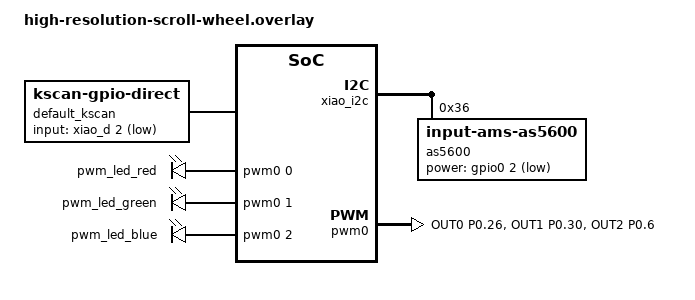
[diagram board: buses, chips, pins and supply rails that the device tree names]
#include <input/processors.dtsi>

&xiao_i2c {
    compatible = "nordic,nrf-twi";
    pinctrl-0 = <&i2c0_default>;
    pinctrl-1 = <&i2c0_sleep>;
    pinctrl-names = "default", "sleep";
    status = "okay";

    as5600: as5600@36 {
        compatible = "zmk,input-ams-as5600";
        reg = <0x36>;
        power-gpios = <&gpio0 2 GPIO_ACTIVE_LOW>;
        status = "okay";
    };
};

/ {
    chosen {
        zmk,kscan = &default_kscan;
    };

    default_kscan: kscan {
        compatible = "zmk,kscan-gpio-direct";
        label = "default_kscan";

        input-gpios =
            <&xiao_d 2 (GPIO_ACTIVE_LOW | GPIO_PULL_UP)>;
    };

    as5600_listener: as5600_listener {
        compatible = "zmk,input-listener";
        device = <&as5600>;
        input-processors = <&zip_scroll_scaler (1) 2>;

        div4 {
            layers = <1>;
            input-processors = <&zip_scroll_scaler (1) 4>;
        };

        div8 {
            layers = <2>;
            input-processors = <&zip_scroll_scaler (1) 8>;
        };

        div16 {
            layers = <3>;
            input-processors = <&zip_scroll_scaler (1) 16>;
        };
    };
};
#include <dt-bindings/pinctrl/nrf-pinctrl.h>

&pinctrl {
    pwm0_default_leds: pwm0_default_leds {
        group1 {
            psels = <NRF_PSEL(PWM_OUT0, 0, 26)>, // Red
                    <NRF_PSEL(PWM_OUT1, 0, 30)>, // Green
                    <NRF_PSEL(PWM_OUT2, 0, 6)>;  // Blue
        };
    };
    pwm0_sleep_leds: pwm0_sleep_leds {
        group1 {
            psels = <NRF_PSEL(PWM_OUT0, 0, 26)>,
                    <NRF_PSEL(PWM_OUT1, 0, 30)>,
                    <NRF_PSEL(PWM_OUT2, 0, 6)>;
            low-power-enable;
        };
    };
};

&pwm0 {
    status = "okay";
    pinctrl-0 = <&pwm0_default_leds>;
    pinctrl-1 = <&pwm0_sleep_leds>;
    pinctrl-names = "default", "sleep";
};

/ {
    pwmleds {
        compatible = "pwm-leds";
        status = "okay";
        pwm_led_red: led_pwm_0 {
            pwms = <&pwm0 0 PWM_MSEC(20) PWM_POLARITY_INVERTED>;
        };
        pwm_led_green: led_pwm_1 {
            pwms = <&pwm0 1 PWM_MSEC(20) PWM_POLARITY_INVERTED>;
        };
        pwm_led_blue: led_pwm_2 {
            pwms = <&pwm0 2 PWM_MSEC(20) PWM_POLARITY_INVERTED>;
        };
    };

    aliases {
        led-red = &pwm_led_red;
        led-green = &pwm_led_green;
        led-blue = &pwm_led_blue;
    };
};

